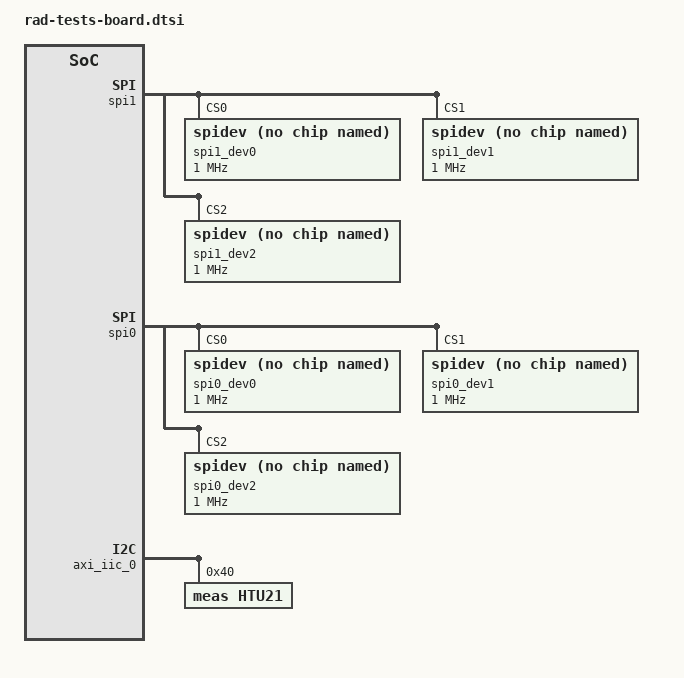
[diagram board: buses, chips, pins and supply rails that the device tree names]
&spi1 {
    spi1_dev0: spidev@0 {
        compatible = "rohm,dh2228fv";
        reg = <0>;
        spi-max-frequency = <1000000>;
        status = "okay";
    };

    spi1_dev1: spidev@1 {
        compatible = "rohm,dh2228fv";
        reg = <1>;
        spi-max-frequency = <1000000>;
        status = "okay";
    };

    spi1_dev2: spidev@2 {
        compatible = "rohm,dh2228fv";
        reg = <2>;
        spi-max-frequency = <1000000>;
        status = "okay";
    };
};

&spi0 {
    spi0_dev0: spidev@0 {
        compatible = "rohm,dh2228fv";
        reg = <0>;
        spi-max-frequency = <1000000>;
        status = "okay";
    };

    spi0_dev1: spidev@1 {
        compatible = "rohm,dh2228fv";
        reg = <1>;
        spi-max-frequency = <1000000>;
        status = "okay";
    };

    spi0_dev2: spidev@2 {
        compatible = "rohm,dh2228fv";
        reg = <2>;
        spi-max-frequency = <1000000>;
        status = "okay";
    };
};

&axi_iic_0 {
    htu21@40 {
        compatible = "meas,htu21";
        reg = <0x40>;
        label = "htu21";
    };
};
